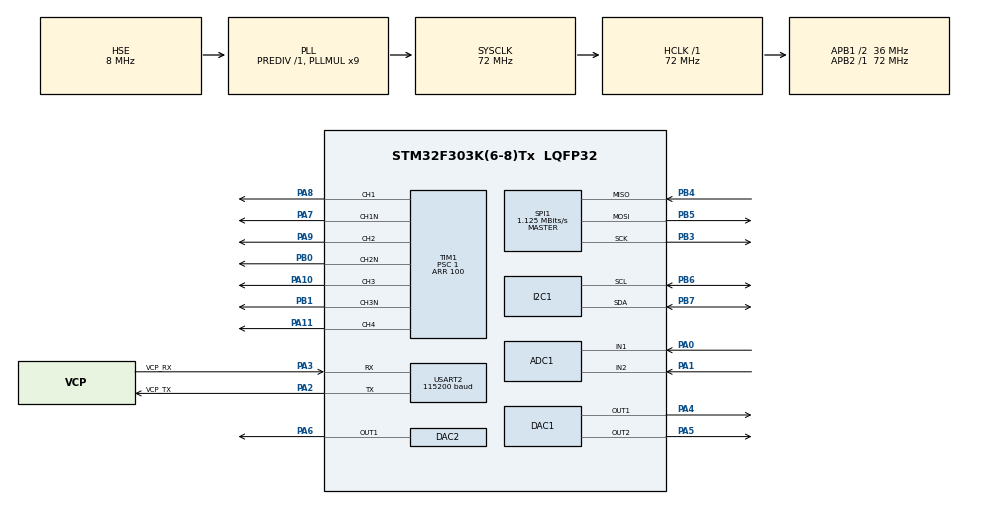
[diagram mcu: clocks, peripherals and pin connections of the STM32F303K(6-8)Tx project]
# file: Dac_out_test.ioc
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Mcu.Family=STM32F3
SH.S_TIM1_CH4.0=TIM1_CH4,PWM Generation4 CH4
RCC.CortexFreq_Value=72000000
Dma.DAC1_CH1.0.Priority=DMA_PRIORITY_LOW
PF0\ /\ OSC_IN.Mode=HSE-External-Clock-Source
SPI1.VirtualType=VM_MASTER
VP_ADC1_TempSens_Input.Mode=IN-TempSens
TIM1.Pulse-PWM\ Generation1\ CH1\ CH1N=50
SH.COMP_DAC12_group.0=DAC1_OUT2,DAC_OUT2
PA14.GPIO_Label=SWCLK
RCC.SYSCLKSourceVirtual=RCC_SYSCLKSOURCE_PLLCLK
SH.COMP_DAC21_group.0=DAC2_OUT1,Switch_Enable_OUT1
ProjectManager.StackSize=0x400
NVIC.DMA1_Channel3_IRQn=true\:0\:0\:false\:false\:true\:false\:true
TIM1.Pulse-PWM\ Generation2\ CH2\ CH2N=50
TIM1.Prescaler=1
ADC1.Offset-0\#ChannelRegularConversion=0
TIM1.Channel-PWM\ Generation4\ CH4=TIM_CHANNEL_4
SPI1.Direction=SPI_DIRECTION_2LINES
RCC.HCLKFreq_Value=72000000
RCC.APB2TimFreq_Value=72000000
PB6.Signal=I2C1_SCL
PB6.Mode=I2C
SPI1.CalculateBaudRate=1.125 MBits/s
ADC1.SubFamily=STM32F303x8
RCC.AHBFreq_Value=72000000
ADC1.Channel-0\#ChannelRegularConversion=ADC_CHANNEL_1
RCC.HSE_VALUE=8000000
PB3.Mode=Full_Duplex_Master
USART2.VirtualMode-Asynchronous=VM_ASYNC
RCC.PLLMUL=RCC_PLL_MUL9
PB4.Mode=Full_Duplex_Master
PA14.Mode=Serial_Wire
PF0\ /\ OSC_IN.GPIO_Label=MCO
Dma.DAC1_CH1.0.Mode=DMA_CIRCULAR
TIM1.DeadTime=10
PB5.Mode=Full_Duplex_Master
PA0.Mode=IN1-Single-Ended
PB7.Signal=I2C1_SDA
PA8.Signal=S_TIM1_CH1
TIM6.Period=2
ADC1.SamplingTime-0\#ChannelRegularConversion=ADC_SAMPLETIME_1CYCLE_5
PA0.Signal=ADC1_IN1
DAC1.DAC_Trigger=DAC_TRIGGER_T6_TRGO
Mcu.Package=LQFP32
PB1.Signal=TIM1_CH3N
PA6.Signal=COMP_DAC21_group
PA2.GPIO_Label=VCP_TX
PA10.Signal=S_TIM1_CH3
Dma.DAC1_CH1.0.Instance=DMA1_Channel3
TIM1.BreakState=TIM_BREAK_DISABLE
RCC.APB1TimFreq_Value=72000000
TIM1.Period=100
Dma.Request0=DAC1_CH1
SPI1.BaudRatePrescaler=SPI_BAUDRATEPRESCALER_64
Dma.DAC1_CH1.0.PeriphInc=DMA_PINC_DISABLE
PB4.Signal=SPI1_MISO
PA3.Signal=USART2_RX
RCC.PLLSourceVirtual=RCC_PLLSOURCE_HSE
TIM1.OCPolarity_3=TIM_OCPOLARITY_HIGH
TIM1.OCPolarity_4=TIM_OCPOLARITY_HIGH
ADC1.Rank-0\#ChannelRegularConversion=1
PA7.Mode=PWM Generation1 CH1 CH1N
ADC1.OffsetNumber-0\#ChannelRegularConversion=ADC_OFFSET_NONE
TIM6.Prescaler=1
VP_TIM6_VS_ClockSourceINT.Mode=Enable_Timer
TIM1.Channel-PWM\ Generation1\ CH1\ CH1N=TIM_CHANNEL_1
RCC.APB1CLKDivider=RCC_HCLK_DIV2
USART2.BaudRate=115200
PA13.Signal=SYS_JTMS-SWDIO
PA3.Mode=Asynchronous
TIM1.AutoReloadPreload=TIM_AUTORELOAD_PRELOAD_ENABLE
TIM1.Channel-PWM\ Generation2\ CH2\ CH2N=TIM_CHANNEL_2
SH.S_TIM1_CH1.0=TIM1_CH1,PWM Generation1 CH1 CH1N
ProjectManager.TargetToolchain=SW4STM32
SH.COMP_DAC11_group.0=DAC1_OUT1,DAC_OUT1
PA9.Signal=S_TIM1_CH2
TIM1.Channel-PWM\ Generation3\ CH3\ CH3N=TIM_CHANNEL_3
PA1.Signal=ADC1_IN2
PA5.Signal=COMP_DAC12_group
Dma.DAC1_CH1.0.MemDataAlignment=DMA_MDATAALIGN_HALFWORD
PB0.Mode=PWM Generation2 CH2 CH2N
board=NUCLEO-F303K8
RCC.APB2Freq_Value=72000000
PA1.Mode=IN2-Single-Ended
PF0\ /\ OSC_IN.Signal=RCC_OSC_IN
SH.S_TIM1_CH2.0=TIM1_CH2,PWM Generation2 CH2 CH2N
SPI1.Mode=SPI_MODE_MASTER
Dma.DAC1_CH1.0.PeriphDataAlignment=DMA_PDATAALIGN_HALFWORD
TIM6.TIM_MasterOutputTrigger=TIM_TRGO_UPDATE
Dma.DAC1_CH1.0.MemInc=DMA_MINC_ENABLE
PA13.Mode=Serial_Wire
Mcu.Name=STM32F303K(6-8)Tx
TIM1.Pulse-PWM\ Generation3\ CH3\ CH3N=50
PA2.Signal=USART2_TX
PA13.GPIO_Label=SWDIO
PB3.Signal=SPI1_SCK
PA4.Signal=COMP_DAC11_group
RCC.SYSCLKFreq_VALUE=72000000
PB5.Signal=SPI1_MOSI
ADC1.master=1
PB7.Mode=I2C
PA11.Signal=S_TIM1_CH4
PA14.Signal=SYS_JTCK-SWCLK
ProjectManager.HeapSize=0x200
PB1.Mode=PWM Generation3 CH3 CH3N
SH.S_TIM1_CH3.0=TIM1_CH3,PWM Generation3 CH3 CH3N
TIM1.Pulse-PWM\ Generation4\ CH4=50
RCC.HSI_VALUE=8000000
NVIC.PriorityGroup=NVIC_PRIORITYGROUP_4
ADC1.NbrOfConversionFlag=1
PA2.Mode=Asynchronous
RCC.APB1Freq_Value=36000000
PB0.Signal=TIM1_CH2N
Dma.DAC1_CH1.0.Direction=DMA_MEMORY_TO_PERIPH
PA3.GPIO_Label=VCP_RX
PA7.Signal=TIM1_CH1N

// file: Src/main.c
/* USER CODE BEGIN Header */
/**
  ******************************************************************************
  * @file           : main.c
  * @brief          : Main program body
  ******************************************************************************
  * @attention
  *
  * <h2><center>&copy; Copyright (c) 2020 STMicroelectronics.
  * All rights reserved.</center></h2>
  *
  * This software component is licensed by ST under BSD 3-Clause license,
  * the "License"; You may not use this file except in compliance with the
  * License. You may obtain a copy of the License at:
  *                        opensource.org/licenses/BSD-3-Clause
  *
  ******************************************************************************
  */
/* USER CODE END Header */

#include "main.h"

ADC_HandleTypeDef hadc1;

DAC_HandleTypeDef hdac1;
DAC_HandleTypeDef hdac2;
DMA_HandleTypeDef hdma_dac1_ch1;

I2C_HandleTypeDef hi2c1;

SPI_HandleTypeDef hspi1;

TIM_HandleTypeDef htim1;
TIM_HandleTypeDef htim6;

UART_HandleTypeDef huart2;

void SystemClock_Config(void);
static void MX_GPIO_Init(void);
static void MX_DMA_Init(void);
static void MX_DAC1_Init(void);
static void MX_DAC2_Init(void);
static void MX_USART2_UART_Init(void);
static void MX_SPI1_Init(void);
static void MX_ADC1_Init(void);
static void MX_TIM1_Init(void);
static void MX_TIM6_Init(void);
static void MX_I2C1_Init(void);
/* USER CODE BEGIN PFP */
#define valueArraySize 100
static uint16_t valueArray[valueArraySize];
/* USER CODE END PFP */

int main(void)
{

  /* MCU Configuration--------------------------------------------------------*/

  /* Reset of all peripherals, Initializes the Flash interface and the Systick. */
  HAL_Init();

  /* Configure the system clock */
  SystemClock_Config();

  /* Initialize all configured peripherals */
  MX_GPIO_Init();
  MX_DMA_Init();
  MX_DAC1_Init();
  MX_DAC2_Init();
  MX_USART2_UART_Init();
  MX_SPI1_Init();
  MX_ADC1_Init();
  MX_TIM1_Init();
  MX_TIM6_Init();
  MX_I2C1_Init();

  /* Infinite loop */
  /* USER CODE BEGIN WHILE */

//  HAL_DAC_Start(&hdac2, DAC_CHANNEL_1);

  uint16_t cnt = 1;
  htim6.Instance->ARR = 1;

  for(uint16_t i = 0; i<valueArraySize; i++)
	  valueArray[i] = 150+1000*(sin(6.28*(i)/(valueArraySize))+1);
  HAL_TIM_Base_Start(&htim6);

  HAL_DAC_Start_DMA(&hdac1, DAC_CHANNEL_1, valueArray, valueArraySize, DAC_ALIGN_12B_R);

  uint8_t data[10];

  HAL_TIM_Base_Start(&htim1);

  htim1.Instance->ARR = 10;
//
  uint16_t pwm = 5;

  htim1.Instance->CCR1 = pwm;
  htim1.Instance->CCR2 = pwm;
  htim1.Instance->CCR3 = pwm;
  htim1.Instance->CCR4 = pwm;

  HAL_TIM_PWM_Start(&htim1, TIM_CHANNEL_1);
  HAL_TIM_PWM_Start(&htim1, TIM_CHANNEL_2);
  HAL_TIM_PWM_Start(&htim1, TIM_CHANNEL_3);
  HAL_TIM_PWM_Start(&htim1, TIM_CHANNEL_4);
  HAL_TIMEx_PWMN_Start(&htim1, TIM_CHANNEL_1);
  HAL_TIMEx_PWMN_Start(&htim1, TIM_CHANNEL_2);
  HAL_TIMEx_PWMN_Start(&htim1, TIM_CHANNEL_3);

  const uint8_t sineArrSize = 200;
  uint16_t sineArr[200] = {0};

  for(uint8_t i = 0; i<sineArrSize; i++){ // FULL SINE WAVE
	  sineArr[i] = (htim1.Instance->ARR/2-1)*(sin(6.28*i/sineArrSize)+1);
  }

//  for(uint8_t i = 0; i<sineArrSize/2; i++){ //HALF SINE WAVE
//	  sineArr[i] = (htim1.Instance->ARR-1)*(sin(6.28*i/sineArrSize));
//  }

  while (1)
  {
//	  HAL_GPIO_WritePin(LD_1_GPIO_Port, LD_1_Pin, cnt < 250);
	  HAL_SPI_Transmit(&hspi1, data, 10, 1);
//	  HAL_DAC_SetValue(&hdac2, DAC_CHANNEL_1, DAC_ALIGN_12B_R, cnt*8);

	  cnt++;
	  if(cnt>=sineArrSize) cnt = 0;

//	  pwm = 14*(sin(6.28*cnt/100)+1);

	  htim1.Instance->CCR1 = sineArr[cnt];
	  htim1.Instance->CCR2 = sineArr[(cnt+sineArrSize/2)%sineArrSize];
	  htim1.Instance->CCR3 = sineArr[(cnt+sineArrSize/2)%sineArrSize];
	  htim1.Instance->CCR4 = sineArr[cnt];;

	  HAL_Delay(100);
//	  htim6.Instance->ARR = cnt;
	  HAL_UART_Transmit(&huart2, &cnt, 2, 1);

    /* USER CODE END WHILE */

  }
}

void SystemClock_Config(void)
{
  RCC_OscInitTypeDef RCC_OscInitStruct = {0};
  RCC_ClkInitTypeDef RCC_ClkInitStruct = {0};
  RCC_PeriphCLKInitTypeDef PeriphClkInit = {0};

  /** Initializes the CPU, AHB and APB busses clocks
  */
  RCC_OscInitStruct.OscillatorType = RCC_OSCILLATORTYPE_HSI|RCC_OSCILLATORTYPE_HSE;
  RCC_OscInitStruct.HSEState = RCC_HSE_BYPASS;
  RCC_OscInitStruct.HSEPredivValue = RCC_HSE_PREDIV_DIV1;
  RCC_OscInitStruct.HSIState = RCC_HSI_ON;
  RCC_OscInitStruct.HSICalibrationValue = RCC_HSICALIBRATION_DEFAULT;
  RCC_OscInitStruct.PLL.PLLState = RCC_PLL_ON;
  RCC_OscInitStruct.PLL.PLLSource = RCC_PLLSOURCE_HSE;
  RCC_OscInitStruct.PLL.PLLMUL = RCC_PLL_MUL9;
  if (HAL_RCC_OscConfig(&RCC_OscInitStruct) != HAL_OK)
  {
    Error_Handler();
  }
  /** Initializes the CPU, AHB and APB busses clocks
  */
  RCC_ClkInitStruct.ClockType = RCC_CLOCKTYPE_HCLK|RCC_CLOCKTYPE_SYSCLK
                              |RCC_CLOCKTYPE_PCLK1|RCC_CLOCKTYPE_PCLK2;
  RCC_ClkInitStruct.SYSCLKSource = RCC_SYSCLKSOURCE_PLLCLK;
  RCC_ClkInitStruct.AHBCLKDivider = RCC_SYSCLK_DIV1;
  RCC_ClkInitStruct.APB1CLKDivider = RCC_HCLK_DIV2;
  RCC_ClkInitStruct.APB2CLKDivider = RCC_HCLK_DIV1;

  if (HAL_RCC_ClockConfig(&RCC_ClkInitStruct, FLASH_LATENCY_2) != HAL_OK)
  {
    Error_Handler();
  }
  PeriphClkInit.PeriphClockSelection = RCC_PERIPHCLK_I2C1|RCC_PERIPHCLK_TIM1
                              |RCC_PERIPHCLK_ADC12;
  PeriphClkInit.Adc12ClockSelection = RCC_ADC12PLLCLK_DIV1;
  PeriphClkInit.I2c1ClockSelection = RCC_I2C1CLKSOURCE_HSI;
  PeriphClkInit.Tim1ClockSelection = RCC_TIM1CLK_HCLK;
  if (HAL_RCCEx_PeriphCLKConfig(&PeriphClkInit) != HAL_OK)
  {
    Error_Handler();
  }
}

static void MX_ADC1_Init(void)
{

  ADC_MultiModeTypeDef multimode = {0};
  ADC_ChannelConfTypeDef sConfig = {0};

  /** Common config
  */
  hadc1.Instance = ADC1;
  hadc1.Init.ClockPrescaler = ADC_CLOCK_ASYNC_DIV1;
  hadc1.Init.Resolution = ADC_RESOLUTION_12B;
  hadc1.Init.ScanConvMode = ADC_SCAN_DISABLE;
  hadc1.Init.ContinuousConvMode = DISABLE;
  hadc1.Init.DiscontinuousConvMode = DISABLE;
  hadc1.Init.ExternalTrigConvEdge = ADC_EXTERNALTRIGCONVEDGE_NONE;
  hadc1.Init.ExternalTrigConv = ADC_SOFTWARE_START;
  hadc1.Init.DataAlign = ADC_DATAALIGN_RIGHT;
  hadc1.Init.NbrOfConversion = 1;
  hadc1.Init.DMAContinuousRequests = DISABLE;
  hadc1.Init.EOCSelection = ADC_EOC_SINGLE_CONV;
  hadc1.Init.LowPowerAutoWait = DISABLE;
  hadc1.Init.Overrun = ADC_OVR_DATA_OVERWRITTEN;
  if (HAL_ADC_Init(&hadc1) != HAL_OK)
  {
    Error_Handler();
  }
  /** Configure the ADC multi-mode
  */
  multimode.Mode = ADC_MODE_INDEPENDENT;
  if (HAL_ADCEx_MultiModeConfigChannel(&hadc1, &multimode) != HAL_OK)
  {
    Error_Handler();
  }
  /** Configure Regular Channel
  */
  sConfig.Channel = ADC_CHANNEL_1;
  sConfig.Rank = ADC_REGULAR_RANK_1;
  sConfig.SingleDiff = ADC_SINGLE_ENDED;
  sConfig.SamplingTime = ADC_SAMPLETIME_1CYCLE_5;
  sConfig.OffsetNumber = ADC_OFFSET_NONE;
  sConfig.Offset = 0;
  if (HAL_ADC_ConfigChannel(&hadc1, &sConfig) != HAL_OK)
  {
    Error_Handler();
  }

}

static void MX_DAC1_Init(void)
{

  DAC_ChannelConfTypeDef sConfig = {0};

  /** DAC Initialization
  */
  hdac1.Instance = DAC1;
  if (HAL_DAC_Init(&hdac1) != HAL_OK)
  {
    Error_Handler();
  }
  /** DAC channel OUT1 config
  */
  sConfig.DAC_Trigger = DAC_TRIGGER_T6_TRGO;
  sConfig.DAC_OutputBuffer = DAC_OUTPUTBUFFER_ENABLE;
  if (HAL_DAC_ConfigChannel(&hdac1, &sConfig, DAC_CHANNEL_1) != HAL_OK)
  {
    Error_Handler();
  }
  /** DAC channel OUT2 config
  */
  sConfig.DAC_Trigger = DAC_TRIGGER_NONE;
  sConfig.DAC_OutputSwitch = DAC_OUTPUTSWITCH_ENABLE;
  if (HAL_DAC_ConfigChannel(&hdac1, &sConfig, DAC_CHANNEL_2) != HAL_OK)
  {
    Error_Handler();
  }

}

static void MX_DAC2_Init(void)
{

  DAC_ChannelConfTypeDef sConfig = {0};

  /** DAC Initialization
  */
  hdac2.Instance = DAC2;
  if (HAL_DAC_Init(&hdac2) != HAL_OK)
  {
    Error_Handler();
  }
  /** DAC channel OUT1 config
  */
  sConfig.DAC_Trigger = DAC_TRIGGER_NONE;
  sConfig.DAC_OutputSwitch = DAC_OUTPUTSWITCH_ENABLE;
  if (HAL_DAC_ConfigChannel(&hdac2, &sConfig, DAC_CHANNEL_1) != HAL_OK)
  {
    Error_Handler();
  }

}

static void MX_I2C1_Init(void)
{

  hi2c1.Instance = I2C1;
  hi2c1.Init.Timing = 0x2000090E;
  hi2c1.Init.OwnAddress1 = 0;
  hi2c1.Init.AddressingMode = I2C_ADDRESSINGMODE_7BIT;
  hi2c1.Init.DualAddressMode = I2C_DUALADDRESS_DISABLE;
  hi2c1.Init.OwnAddress2 = 0;
  hi2c1.Init.OwnAddress2Masks = I2C_OA2_NOMASK;
  hi2c1.Init.GeneralCallMode = I2C_GENERALCALL_DISABLE;
  hi2c1.Init.NoStretchMode = I2C_NOSTRETCH_DISABLE;
  if (HAL_I2C_Init(&hi2c1) != HAL_OK)
  {
    Error_Handler();
  }
  /** Configure Analogue filter
  */
  if (HAL_I2CEx_ConfigAnalogFilter(&hi2c1, I2C_ANALOGFILTER_ENABLE) != HAL_OK)
  {
    Error_Handler();
  }
  /** Configure Digital filter
  */
  if (HAL_I2CEx_ConfigDigitalFilter(&hi2c1, 0) != HAL_OK)
  {
    Error_Handler();
  }

}

static void MX_SPI1_Init(void)
{

  /* SPI1 parameter configuration*/
  hspi1.Instance = SPI1;
  hspi1.Init.Mode = SPI_MODE_MASTER;
  hspi1.Init.Direction = SPI_DIRECTION_2LINES;
  hspi1.Init.DataSize = SPI_DATASIZE_4BIT;
  hspi1.Init.CLKPolarity = SPI_POLARITY_LOW;
  hspi1.Init.CLKPhase = SPI_PHASE_1EDGE;
  hspi1.Init.NSS = SPI_NSS_SOFT;
  hspi1.Init.BaudRatePrescaler = SPI_BAUDRATEPRESCALER_64;
  hspi1.Init.FirstBit = SPI_FIRSTBIT_MSB;
  hspi1.Init.TIMode = SPI_TIMODE_DISABLE;
  hspi1.Init.CRCCalculation = SPI_CRCCALCULATION_DISABLE;
  hspi1.Init.CRCPolynomial = 7;
  hspi1.Init.CRCLength = SPI_CRC_LENGTH_DATASIZE;
  hspi1.Init.NSSPMode = SPI_NSS_PULSE_ENABLE;
  if (HAL_SPI_Init(&hspi1) != HAL_OK)
  {
    Error_Handler();
  }

}

static void MX_TIM1_Init(void)
{

  TIM_MasterConfigTypeDef sMasterConfig = {0};
  TIM_OC_InitTypeDef sConfigOC = {0};
  TIM_BreakDeadTimeConfigTypeDef sBreakDeadTimeConfig = {0};

  htim1.Instance = TIM1;
  htim1.Init.Prescaler = 0;
  htim1.Init.CounterMode = TIM_COUNTERMODE_UP;
  htim1.Init.Period = 10;
  htim1.Init.ClockDivision = TIM_CLOCKDIVISION_DIV1;
  htim1.Init.RepetitionCounter = 0;
  htim1.Init.AutoReloadPreload = TIM_AUTORELOAD_PRELOAD_ENABLE;
  if (HAL_TIM_PWM_Init(&htim1) != HAL_OK)
  {
    Error_Handler();
  }
  sMasterConfig.MasterOutputTrigger = TIM_TRGO_RESET;
  sMasterConfig.MasterOutputTrigger2 = TIM_TRGO2_RESET;
  sMasterConfig.MasterSlaveMode = TIM_MASTERSLAVEMODE_DISABLE;
  if (HAL_TIMEx_MasterConfigSynchronization(&htim1, &sMasterConfig) != HAL_OK)
  {
    Error_Handler();
  }
  sConfigOC.OCMode = TIM_OCMODE_PWM1;
  sConfigOC.Pulse = 5;
  sConfigOC.OCPolarity = TIM_OCPOLARITY_HIGH;
  sConfigOC.OCNPolarity = TIM_OCNPOLARITY_HIGH;
  sConfigOC.OCFastMode = TIM_OCFAST_DISABLE;
  sConfigOC.OCIdleState = TIM_OCIDLESTATE_RESET;
  sConfigOC.OCNIdleState = TIM_OCNIDLESTATE_RESET;
  if (HAL_TIM_PWM_ConfigChannel(&htim1, &sConfigOC, TIM_CHANNEL_1) != HAL_OK)
  {
    Error_Handler();
  }
  if (HAL_TIM_PWM_ConfigChannel(&htim1, &sConfigOC, TIM_CHANNEL_2) != HAL_OK)
  {
    Error_Handler();
  }
  if (HAL_TIM_PWM_ConfigChannel(&htim1, &sConfigOC, TIM_CHANNEL_3) != HAL_OK)
  {
    Error_Handler();
  }
  if (HAL_TIM_PWM_ConfigChannel(&htim1, &sConfigOC, TIM_CHANNEL_4) != HAL_OK)
  {
    Error_Handler();
  }
  sBreakDeadTimeConfig.OffStateRunMode = TIM_OSSR_DISABLE;
  sBreakDeadTimeConfig.OffStateIDLEMode = TIM_OSSI_DISABLE;
  sBreakDeadTimeConfig.LockLevel = TIM_LOCKLEVEL_OFF;
  sBreakDeadTimeConfig.DeadTime = 4;
  sBreakDeadTimeConfig.BreakState = TIM_BREAK_DISABLE;
  sBreakDeadTimeConfig.BreakPolarity = TIM_BREAKPOLARITY_HIGH;
  sBreakDeadTimeConfig.BreakFilter = 0;
  sBreakDeadTimeConfig.Break2State = TIM_BREAK2_DISABLE;
  sBreakDeadTimeConfig.Break2Polarity = TIM_BREAK2POLARITY_HIGH;
  sBreakDeadTimeConfig.Break2Filter = 0;
  sBreakDeadTimeConfig.AutomaticOutput = TIM_AUTOMATICOUTPUT_DISABLE;
  if (HAL_TIMEx_ConfigBreakDeadTime(&htim1, &sBreakDeadTimeConfig) != HAL_OK)
  {
    Error_Handler();
  }
  HAL_TIM_MspPostInit(&htim1);

}

static void MX_TIM6_Init(void)
{

  TIM_MasterConfigTypeDef sMasterConfig = {0};

  htim6.Instance = TIM6;
  htim6.Init.Prescaler = 0;
  htim6.Init.CounterMode = TIM_COUNTERMODE_UP;
  htim6.Init.Period = 1;
  htim6.Init.AutoReloadPreload = TIM_AUTORELOAD_PRELOAD_DISABLE;
  if (HAL_TIM_Base_Init(&htim6) != HAL_OK)
  {
    Error_Handler();
  }
  sMasterConfig.MasterOutputTrigger = TIM_TRGO_UPDATE;
  sMasterConfig.MasterSlaveMode = TIM_MASTERSLAVEMODE_DISABLE;
  if (HAL_TIMEx_MasterConfigSynchronization(&htim6, &sMasterConfig) != HAL_OK)
  {
    Error_Handler();
  }

}

static void MX_USART2_UART_Init(void)
{

  huart2.Instance = USART2;
  huart2.Init.BaudRate = 115200;
  huart2.Init.WordLength = UART_WORDLENGTH_8B;
  huart2.Init.StopBits = UART_STOPBITS_1;
  huart2.Init.Parity = UART_PARITY_NONE;
  huart2.Init.Mode = UART_MODE_TX_RX;
  huart2.Init.HwFlowCtl = UART_HWCONTROL_NONE;
  huart2.Init.OverSampling = UART_OVERSAMPLING_16;
  huart2.Init.OneBitSampling = UART_ONE_BIT_SAMPLE_DISABLE;
  huart2.AdvancedInit.AdvFeatureInit = UART_ADVFEATURE_NO_INIT;
  if (HAL_UART_Init(&huart2) != HAL_OK)
  {
    Error_Handler();
  }

}

static void MX_DMA_Init(void)
{

  /* DMA controller clock enable */
  __HAL_RCC_DMA1_CLK_ENABLE();

  /* DMA interrupt init */
  /* DMA1_Channel3_IRQn interrupt configuration */
  HAL_NVIC_SetPriority(DMA1_Channel3_IRQn, 0, 0);
  HAL_NVIC_EnableIRQ(DMA1_Channel3_IRQn);

}

static void MX_GPIO_Init(void)
{

  /* GPIO Ports Clock Enable */
  __HAL_RCC_GPIOF_CLK_ENABLE();
  __HAL_RCC_GPIOA_CLK_ENABLE();
  __HAL_RCC_GPIOB_CLK_ENABLE();

}

void Error_Handler(void)
{
}

/************************ (C) COPYRIGHT STMicroelectronics *****END OF FILE****/
